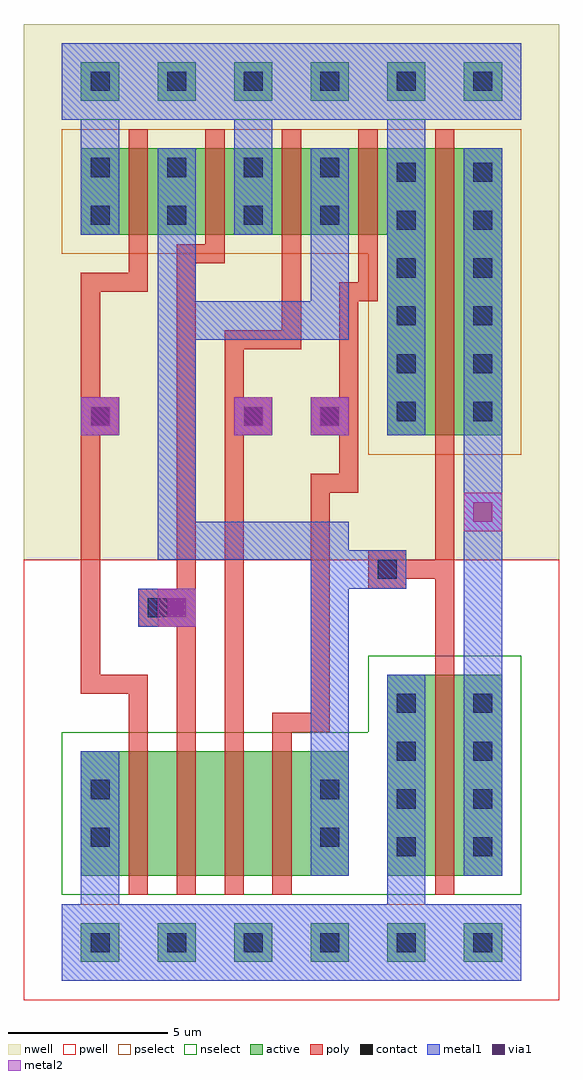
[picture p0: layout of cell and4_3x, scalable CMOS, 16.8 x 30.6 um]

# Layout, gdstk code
import gdstk
lib = gdstk.Library(unit=1e-6, precision=1e-09)
def R(c, l, rs):  # rectangles x0, y0, x1, y1
    for r in rs: c.add(gdstk.rectangle(r[:2], r[2:], *l))
def A(c, l, x, y, w, h, nx, ny, dx, dy):  # array of equal rectangles
    R(c, l, [(x+i*dx, y+j*dy, x+i*dx+w, y+j*dy+h) for i in range(nx) for j in range(ny)])
contact = (25, 0)
pwell = (41, 0)
nwell = (42, 0)
active = (43, 0)
pselect = (44, 0)
nselect = (45, 0)
poly = (46, 0)
metal1 = (49, 0)
via1 = (50, 0)
metal2 = (51, 0)

and4_3x = lib.new_cell('and4_3x')
A(and4_3x, contact, 0.3, -0.3, 0.6, 0.6, 6, 2, 2.4, 27)
A(and4_3x, contact, 9.9, 2.7, 0.6, 0.6, 1, 4, 0, 1.5)
A(and4_3x, contact, 12.3, 2.7, 0.6, 0.6, 1, 4, 0, 1.5)
A(and4_3x, contact, 9.9, 16.35, 0.6, 0.6, 1, 6, 0, 1.5)
A(and4_3x, contact, 12.3, 16.35, 0.6, 0.6, 1, 6, 0, 1.5)
A(and4_3x, contact, 0.3, 22.5, 0.6, 0.6, 4, 2, 2.4, 1.5)
R(and4_3x, contact, [(0.3,3,0.9,3.6), (7.5,3,8.1,3.6), (0.3,4.5,0.9,5.1), (7.5,4.5,8.1,5.1), (2.1,10.2,2.7,10.8), (9.3,11.4,9.9,12), (0.3,16.2,0.9,16.8), (5.1,16.2,5.7,16.8), (7.5,16.2,8.1,16.8)])
A(and4_3x, pwell, -0.9, -1.5, 3, 3, 6, 1, 2.4, 0)
A(and4_3x, pwell, -1.2, 0.3, 6, 7.5, 4, 1, 1.5, 0)
R(and4_3x, pwell, [(-1.8,-1.8,15,12), (-1.8,0.3,3,7.8), (5.4,0.3,10.2,7.8), (7.8,0.3,12.6,10.2), (8.4,0.3,14.4,10.2), (10.2,0.3,15,10.2), (-1.65,1.35,2.925,5.85), (5.175,1.35,10.05,5.85), (1.425,1.5,6.675,6), (2.925,1.5,8.175,6), (-0.075,1.65,5.175,6.15), (7.8,2.85,12.525,7.35), (10.275,3.45,15,7.95)])
A(and4_3x, nwell, -1.8, 20.4, 4.8, 6.3, 4, 1, 2.4, 0)
A(and4_3x, nwell, -1.2, 20.4, 6, 6.3, 4, 1, 2.4, 0)
A(and4_3x, nwell, -0.9, 25.5, 3, 3, 6, 1, 2.4, 0)
R(and4_3x, nwell, [(-1.8,12,15,28.8), (7.8,14.1,12.6,26.7), (8.4,14.1,14.4,26.7), (10.2,14.1,15,26.7), (7.95,19.95,12.525,24.45), (7.875,20.4,12.45,24.9), (10.275,20.55,14.85,25.05), (0.75,21.15,5.325,25.65), (3,21.3,7.725,25.8), (5.475,21.3,10.05,25.8), (0.675,21.45,5.4,25.95), (5.55,21.45,10.125,25.95), (-1.65,21.75,2.925,26.25), (3,21.75,7.575,26.25)])
A(and4_3x, active, 0, -0.6, 1.2, 1.2, 6, 2, 2.4, 27)
A(and4_3x, active, 0.6, 2.1, 2.4, 3.9, 4, 1, 1.5, 0)
A(and4_3x, active, 0, 22.2, 1.2, 2.7, 4, 1, 2.4, 0)
A(and4_3x, active, 0.6, 22.2, 2.4, 2.7, 4, 1, 2.4, 0)
R(and4_3x, active, [(0,2.1,1.2,6), (7.2,2.1,8.4,6), (9.6,2.1,10.8,8.4), (10.2,2.1,12.6,8.4), (12,2.1,13.2,8.4), (0.15,3.15,1.125,4.05), (6.975,3.15,8.25,4.05), (3.225,3.3,4.875,4.2), (4.725,3.3,6.375,4.2), (1.725,3.45,3.375,4.35), (9.6,4.65,10.725,5.55), (12.075,5.25,13.2,6.15), (9.6,15.9,10.8,24.9), (10.2,15.9,12.6,24.9), (12,15.9,13.2,24.9), (9.75,21.75,10.725,22.65), (9.675,22.2,10.65,23.1), (12.075,22.35,13.05,23.25), (2.55,22.95,3.525,23.85), (4.8,23.1,5.925,24), (7.275,23.1,8.25,24), (2.475,23.25,3.6,24.15), (7.35,23.25,8.325,24.15), (0.15,23.55,1.125,24.45), (4.8,23.55,5.775,24.45)])
A(and4_3x, pselect, -0.6, -1.2, 2.4, 2.4, 6, 1, 2.4, 0)
A(and4_3x, pselect, -0.6, 21.6, 2.4, 3.9, 4, 1, 2.4, 0)
A(and4_3x, pselect, 0, 21.6, 3.6, 3.9, 4, 1, 2.4, 0)
R(and4_3x, pselect, [(9,15.3,11.4,25.5), (9.6,15.3,13.2,25.5), (11.4,15.3,13.8,25.5), (9.15,21.15,11.325,23.25), (9.075,21.6,11.25,23.7), (11.475,21.75,13.65,23.85), (1.95,22.35,4.125,24.45), (4.2,22.5,6.525,24.6), (6.675,22.5,8.85,24.6), (1.875,22.65,4.2,24.75), (6.75,22.65,8.925,24.75), (-0.45,22.95,1.725,25.05), (4.2,22.95,6.375,25.05)])
A(and4_3x, nselect, 0, 1.5, 3.6, 5.1, 4, 1, 1.5, 0)
A(and4_3x, nselect, -0.6, 25.8, 2.4, 2.4, 6, 1, 2.4, 0)
R(and4_3x, nselect, [(-0.6,1.5,1.8,6.6), (6.6,1.5,9,6.6), (9,1.5,11.4,9), (9.6,1.5,13.2,9), (11.4,1.5,13.8,9), (-0.45,2.55,1.725,4.65), (6.375,2.55,8.85,4.65), (2.625,2.7,5.475,4.8), (4.125,2.7,6.975,4.8), (1.125,2.85,3.975,4.95), (9,4.05,11.325,6.15), (11.475,4.65,13.8,6.75)])
A(and4_3x, poly, 1.5, 1.5, 0.6, 5.1, 4, 1, 1.5, 0)
A(and4_3x, poly, 1.5, 21.6, 0.6, 3.9, 4, 1, 2.4, 0)
R(and4_3x, poly, [(11.1,1.5,11.7,9), (1.5,6.3,2.1,8.4), (3,6.3,3.6,10.8), (4.5,6.3,5.1,16.8), (6,6.3,6.6,7.2), (6,6.6,7.8,7.2), (7.2,6.6,7.8,14.7), (0,7.8,2.1,8.4), (0,7.8,0.6,16.8), (11.1,8.7,11.7,12), (1.8,9.9,3,11.1), (2.1,10.2,3.6,10.8), (2.1,10.2,3.6,10.8), (3,10.2,3.6,21.9), (9,11.1,10.2,12.3), (9.3,11.4,11.7,12), (11.1,11.4,11.7,15.6), (7.2,14.1,8.7,14.7), (8.1,14.1,8.7,16.8), (11.1,15.3,11.7,25.5), (0,15.9,1.2,17.1), (4.8,15.9,6,17.1), (7.2,15.9,8.4,17.1), (0,16.2,0.6,21), (0,16.2,0.9,16.8), (4.5,16.2,5.7,16.8), (4.5,16.2,5.1,19.2), (7.5,16.2,8.7,16.8), (8.1,16.2,8.7,20.7), (4.5,18.6,6.9,19.2), (6.3,18.6,6.9,21.9), (8.1,20.1,9.3,20.7), (8.7,20.1,9.3,21.9), (0,20.4,2.1,21), (1.5,20.4,2.1,21.9), (3,21.3,4.5,21.9)])
A(and4_3x, metal1, 0, -0.6, 1.2, 1.2, 6, 1, 2.4, 0)
A(and4_3x, metal1, 0, 22.2, 1.2, 2.7, 4, 1, 2.4, 0)
A(and4_3x, metal1, -0.6, 25.8, 4.8, 2.4, 5, 1, 2.4, 0)
A(and4_3x, metal1, 0, 26.4, 1.2, 1.2, 4, 1, 2.4, 0)
R(and4_3x, metal1, [(-0.6,-1.2,1.8,1.2), (-0.6,-1.2,4.2,1.2), (-0.6,-1.2,9,1.2), (-0.6,-1.2,6.6,1.2), (1.8,-1.2,11.4,1.2), (8.85,-1.2,13.8,1.2), (8.85,-1.2,11.4,1.2), (0,-0.6,1.2,3.15), (9.6,-0.6,10.8,4.275), (0.15,-0.45,1.05,0.45), (0,2.1,1.2,6), (7.2,2.1,8.4,6), (9.6,2.1,10.8,8.4), (12,2.1,13.2,8.4), (7.2,4.95,8.4,12.3), (12,7.35,13.2,16.95), (1.8,9.9,3,11.1), (1.8,9.9,3.6,11.1), (2.4,9.9,3.6,11.1), (7.2,11.1,8.4,13.2), (7.2,11.1,10.2,12.3), (9,11.1,10.2,12.3), (2.4,12,3.6,20.1), (2.4,12,8.4,13.2), (12.15,12.75,13.05,16.8), (12,12.9,13.2,14.1), (0,15.9,1.2,17.1), (0,15.9,1.2,17.1), (0,15.9,1.2,17.1), (4.8,15.9,6,17.1), (4.8,15.9,6,17.1), (4.8,15.9,6,17.1), (7.2,15.9,8.4,17.1), (7.2,15.9,8.4,17.1), (9.6,15.9,10.8,24.9), (12,15.9,13.2,24.9), (7.35,16.05,8.25,16.95), (2.4,18.9,8.4,20.1), (2.4,18.9,3.6,23.25), (7.2,18.9,8.4,23.25), (9.6,22.8,10.8,27.6), (0,23.85,1.2,27.6), (4.8,23.85,6,27.6), (-0.6,25.8,1.8,28.2), (9,25.8,11.4,28.2), (0,26.4,1.2,27.6), (4.8,26.4,8.4,27.6), (7.2,26.4,8.4,27.6), (9.6,26.4,10.8,27.6), (9.6,26.4,10.8,27.6), (12,26.4,13.2,27.6), (12,26.4,13.2,27.6), (9.75,26.55,13.05,27.45)])
R(and4_3x, via1, [(2.7,10.2,3.3,10.8), (12.3,13.2,12.9,13.8), (0.3,16.2,0.9,16.8), (5.1,16.2,5.7,16.8), (7.5,16.2,8.1,16.8)])
R(and4_3x, metal2, [(2.4,9.9,3.6,11.1), (12,12.9,13.2,14.1), (0,15.9,1.2,17.1), (4.8,15.9,6,17.1), (7.2,15.9,8.4,17.1)])

lib.write_gds('and4_3x.gds')
